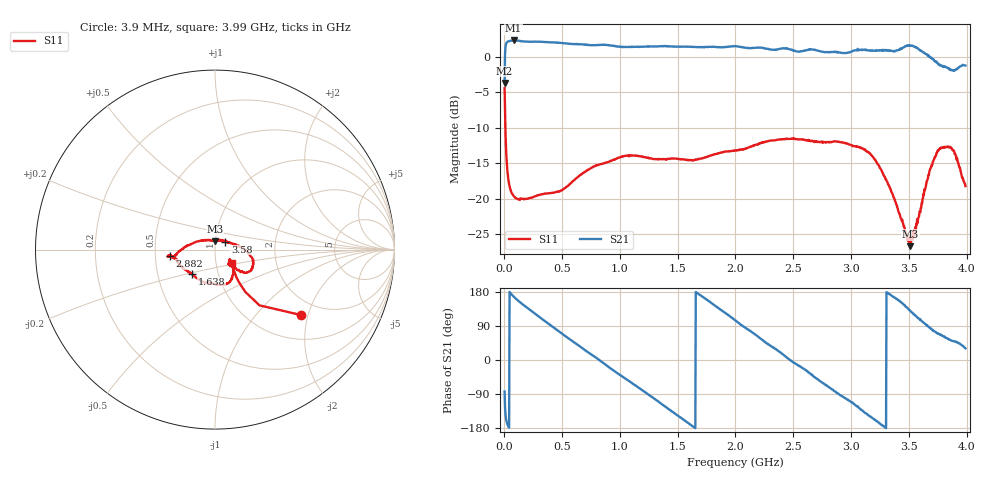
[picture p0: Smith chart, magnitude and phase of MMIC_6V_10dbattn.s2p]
# HZ S RI R 50
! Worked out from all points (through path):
!   1023 points, 3.9 MHz to 3.99 GHz, reference 50 ohm
!   highest |S21| = 2.31 dB at 81.9 MHz (marker M1); lowest = -3.7 dB at 3.9 MHz (marker M2)
!   lowest |S11| = -26.7 dB at 3.514 GHz (marker M3), VSWR 1.10, Z = 49.8 + j4.61 ohm
!   |S11| at or under -10 dB: 10.64 MHz to end of sweep
!   S12 and S22 are empty: the file has one direction only
!   S11 on the Smith chart (normalised r, x): 3.9 MHz: 1.58, -1.80; 1.638 GHz: 0.75, -0.21; 2.882 GHz: 0.60, -0.05; 3.58 GHz: 1.12, +0.10; 3.99 GHz: 1.20, -0.18
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3900000  0.4785 -0.3643  0.0748 -0.6498  0 0  0 0
3.12e7  0.101 -0.1071  -1.268 -0.1775  0 0  0 0
8.19e7  0.0851 -0.0605  -1.272 0.2864  0 0  0 0
2.223e8  0.0799 -0.0618  -0.8617 0.9416  0 0  0 0
3.705e8  0.0747 -0.0791  -0.1881 1.256  0 0  0 0
6.708e8  0.1021 -0.1087  1.036 0.6528  0 0  0 0
9.36e8  0.0928 -0.1615  1.08 -0.5158  0 0  0 0
1.1427e9  0.0392 -0.1972  0.4299 -1.096  0 0  0 0
1.3338e9  -0.0151 -0.1887  -0.3975 -1.115  0 0  0 0
1.638e9  -0.1288 -0.1342  -1.172 -0.069  0 0  0 0
1.794e9  -0.1705 -0.1085  -1.016 0.5891  0 0  0 0
1.9968e9  -0.208 -0.0665  -0.3125 1.146  0 0  0 0
2.184e9  -0.2364 -0.0437  0.5017 1.046  0 0  0 0
2.3985e9  -0.2593 -0.0376  1.092 0.344  0 0  0 0
2.6637e9  -0.2545 -0.0319  0.8773 -0.706  0 0  0 0
2.8821e9  -0.2493 -0.0354  0.0425 -1.075  0 0  0 0
3.0732e9  -0.2268 -0.0383  -0.679 -0.8892  0 0  0 0
3.3267e9  -0.1186 0.0383  -1.107 0.0999  0 0  0 0
3.5139e9  -6.07e-05 0.0462  -0.7581 0.9325  0 0  0 0
3.5802e9  0.0578 0.044  -0.4004 1.068  0 0  0 0
3.7713e9  0.2139 -0.0769  0.3502 0.8038  0 0  0 0
3.9897e9  0.0969 -0.0752  0.7458 0.4443  0 0  0 0
